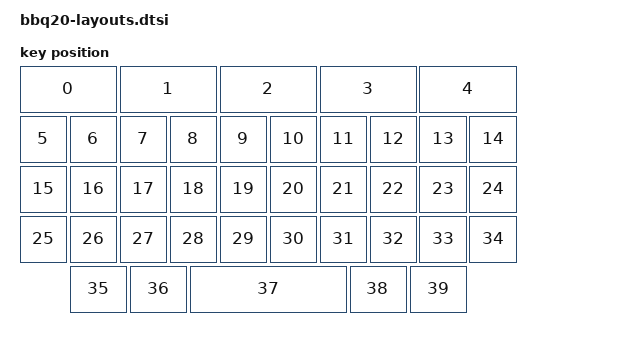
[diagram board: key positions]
#include <physical_layouts.dtsi>

/ {
    layout_0: layout_0 {
        compatible = "zmk,physical-layout";
        display-name = "blackberry_keyboard_layout";

        kscan = <&kscan0>;
        transform = <&default_transform>;

        keys  //                     w      h       x       y      rot    rx    ry
            /* 第0行：5个宽按键（w=2） */
            = <&key_physical_attrs 200    100       0     100        0     0     0>  /* row0, col0 */
            , <&key_physical_attrs 200    100     200     100        0     0     0>  /* row0, col1 */
            , <&key_physical_attrs 200    100     400     100        0     0     0>  /* row0, col2 */
            , <&key_physical_attrs 200    100     600     100        0     0     0>  /* row0, col3 */
            , <&key_physical_attrs 200    100     800     100        0     0     0>  /* row0, col4 */

            /* 第1行：10个标准按键（默认w=1, h=1） */
            , <&key_physical_attrs 100    100       0     200        0     0     0>  /* row1, col0 */
            , <&key_physical_attrs 100    100     100     200        0     0     0>  /* row1, col1 */
            , <&key_physical_attrs 100    100     200     200        0     0     0>  /* row1, col2 */
            , <&key_physical_attrs 100    100     300     200        0     0     0>  /* row1, col3 */
            , <&key_physical_attrs 100    100     400     200        0     0     0>  /* row1, col4 */
            , <&key_physical_attrs 100    100     500     200        0     0     0>  /* row1, col5 */
            , <&key_physical_attrs 100    100     600     200        0     0     0>  /* row1, col7（跳过col6） */
            , <&key_physical_attrs 100    100     700     200        0     0     0>  /* row1, col8 */
            , <&key_physical_attrs 100    100     800     200        0     0     0>  /* row1, col9 */
            , <&key_physical_attrs 100    100     900     200        0     0     0>  /* row1, col10 */

            /* 第2行：10个标准按键 */
            , <&key_physical_attrs 100    100       0     300        0     0     0>  /* row2, col0 */
            , <&key_physical_attrs 100    100     100     300        0     0     0>  /* row2, col1 */
            , <&key_physical_attrs 100    100     200     300        0     0     0>  /* row2, col2 */
            , <&key_physical_attrs 100    100     300     300        0     0     0>  /* row2, col3 */
            , <&key_physical_attrs 100    100     400     300        0     0     0>  /* row2, col4 */
            , <&key_physical_attrs 100    100     500     300        0     0     0>  /* row2, col5 */
            , <&key_physical_attrs 100    100     600     300        0     0     0>  /* row2, col7（跳过col6） */
            , <&key_physical_attrs 100    100     700     300        0     0     0>  /* row2, col8 */
            , <&key_physical_attrs 100    100     800     300        0     0     0>  /* row2, col9 */
            , <&key_physical_attrs 100    100     900     300        0     0     0>  /* row2, col10 */

            /* 第3行：10个标准按键 */
            , <&key_physical_attrs 100    100       0     400        0     0     0>  /* row3, col0 */
            , <&key_physical_attrs 100    100     100     400        0     0     0>  /* row3, col1 */
            , <&key_physical_attrs 100    100     200     400        0     0     0>  /* row3, col2 */
            , <&key_physical_attrs 100    100     300     400        0     0     0>  /* row3, col3 */
            , <&key_physical_attrs 100    100     400     400        0     0     0>  /* row3, col4 */
            , <&key_physical_attrs 100    100     500     400        0     0     0>  /* row3, col5 */
            , <&key_physical_attrs 100    100     600     400        0     0     0>  /* row3, col7（跳过col6） */
            , <&key_physical_attrs 100    100     700     400        0     0     0>  /* row3, col8 */
            , <&key_physical_attrs 100    100     800     400        0     0     0>  /* row3, col9 */
            , <&key_physical_attrs 100    100     900     400        0     0     0>  /* row3, col10 */

            /* 第4行：5个特殊宽度按键 */
            , <&key_physical_attrs 120    100     100     500        0     0     0>  /* row4, col2（w=1.2） */
            , <&key_physical_attrs 120    100     220     500        0     0     0>  /* row4, col4（w=1.2） */
            , <&key_physical_attrs 320    100     340     500        0     0     0>  /* row4, col5（w=3.2） */
            , <&key_physical_attrs 120    100     660     500        0     0     0>  /* row4, col7（w=1.2） */
            , <&key_physical_attrs 120    100     780     500        0     0     0>  /* row4, col8（w=1.2） */
            ;
    };
};
